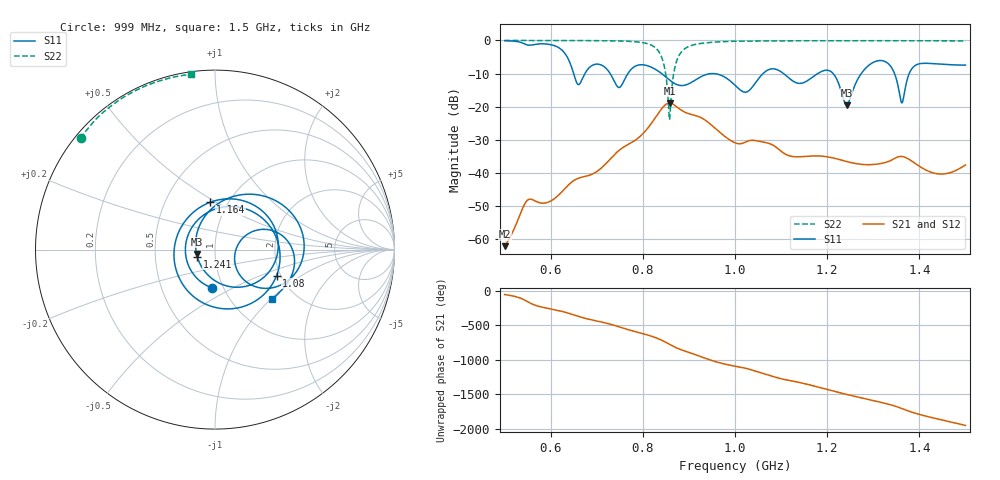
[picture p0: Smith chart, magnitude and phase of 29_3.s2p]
! TOUCHSTONE file generated by CST MICROWAVE STUDIO
! Date and time: Fri Dec 11 14:15:48 2020
! Project name: Scenario_1_Planar_Body_Tissue_Out_of_Line_v2.cst
! Parameters = {dy1=138.4; L_HA=400; Ltissue=700; MT=2.54; Rad_Dielectric=30; Rad_Lower=7.3; Rad_Upper=30; Wtissue=700; a_HA=580; a_WG=246; b_HA=500; b_WG=121; c_HA=0; c_WG=187; d_feed=85; dx1=520; h_feed=15; h_lower=18; h_upper=40; hfat=3; hgap=25; hmuscle=50; hskin=1.5}
! Header version: 2018
! Port assignment regex: !\s*Touchstone port\s*([0-9]+)\s*=\s*(CST MWS port|CST DS port)\s*([0-9]+|Zmin|Zmax)\s*\(\"(.*)\"\)(\s*mode\s*([0-9]+))?.*
! Touchstone port assignment:
! Touchstone port 1 = CST MWS port 1 ("")
! Touchstone port 2 = CST MWS port 2 ("")
# GHz S DB R 50
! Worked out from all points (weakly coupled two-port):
!   1003 points, 500 MHz to 1.5 GHz, reference 50 ohm
!   highest |S21| = -18.92 dB at 858 MHz (marker M1); lowest = -62.2 dB at 500 MHz (marker M2)
!   lowest |S11| = -19.5 dB at 1.242 GHz (marker M3), VSWR 1.24, Z = 40.7 - j2.03 ohm
!   |S11| at or under -10 dB: 840.7 MHz to 1.061 GHz (220.3 MHz wide, 23.2 % of centre); 1.105 GHz to 1.18 GHz (74.48 MHz wide, 6.52 % of centre); 1.213 GHz to 1.274 GHz (61.04 MHz wide, 4.91 % of centre) (the widest 3 of 6)
!   |S22| runs from -24.0 to 0.0 dB; largest |S21 - S12| = 3.1e-06
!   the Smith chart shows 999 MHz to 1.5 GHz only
!   S11 on the Smith chart (normalised r, x): 999 MHz: 0.88, -0.39; 1.08 GHz: 1.90, -0.64; 1.164 GHz: 0.83, +0.47; 1.241 GHz: 0.82, -0.06; 1.5 GHz: 1.52, -1.03
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0.5  -0.08 -122.0  -62.18 -55.7  -62.18 -55.7  -0.01 151.2
0.599  -1.24 -175.9  -48.61 96.9  -48.61 96.9  -0.02 144.2
0.667  -12.11 172.5  -41.36 -26.3  -41.36 -26.3  -0.04 138.4
0.743  -13.61 8.1  -33.88 -152.5  -33.88 -152.5  -0.14 128.8
0.788  -7.53 163.9  -29.71 118.3  -29.71 118.3  -0.45 117.7
0.834  -9.34 49.6  -21.96 22.2  -21.96 22.2  -3.26 84.0
0.858  -11.97 -16.5  -18.92 -59.4  -18.92 -59.4  -23.97 -49.2
0.895  -13.37 -142.0  -21.91 -163.5  -21.91 -163.5  -2.14 171.6
0.935  -10.42 82.2  -24.05 100.9  -24.05 100.9  -0.76 152.7
0.999  -13.40 -95.0  -30.87 -13.6  -30.87 -13.6  -0.25 140.4
1  -13.54 -98.2  -30.93 -14.8  -30.93 -14.8  -0.25 140.3
1.049  -11.95 72.0  -30.38 -96.3  -30.38 -96.3  -0.17 134.5
1.08  -8.58 -22.9  -31.47 -159.2  -31.47 -159.2  -0.13 131.5
1.164  -11.52 95.6  -34.95 70.8  -34.95 70.8  -0.10 124.4
1.167  -11.22 88.3  -34.93 65.7  -34.93 65.7  -0.10 124.2
1.241  -19.47 -158.4  -36.55 -62.3  -36.55 -62.3  -0.09 118.5
1.242  -19.55 -166.5  -36.58 -63.9  -36.58 -63.9  -0.09 118.4
1.284  -8.33 53.1  -37.54 -128.3  -37.54 -128.3  -0.09 115.3
1.334  -7.20 -24.2  -36.52 152.5  -36.52 152.5  -0.09 111.5
1.362  -18.90 -12.0  -35.07 90.9  -35.07 90.9  -0.09 109.3
1.393  -7.41 1.9  -37.35 19.6  -37.35 19.6  -0.10 106.9
1.5  -7.46 -41.0  -37.64 -154.1  -37.64 -154.1  -0.13 97.9
